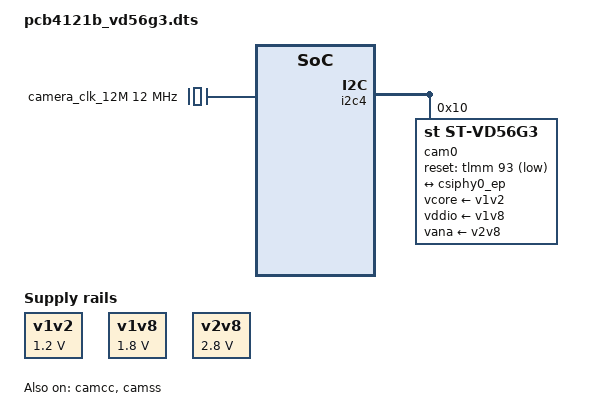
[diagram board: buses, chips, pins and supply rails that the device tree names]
/dts-v1/;
/plugin/;

/ {

	fragment@0 {
		target = <&camcc>;
		__overlay__ {
			status = "okay";
		};
	};

	fragment@1 {
		target = <&camss>;
		__overlay__ {
			status = "okay";

			ports {
				/* The port index denotes CSI PHY -> here CSI0 */
				port@0 {
					reg = <0x0>;
					csiphy0_ep: endpoint {
						clock-lanes = <2>;
						data-lanes = <0 1>;
						remote-endpoint = <&vd56g3_ep>;
					};
				};
			};
		};
	};

	fragment@2 {
		target = <&soc>;
		__overlay__ {
			camera_clk_12M: camera_clk_12M {
				#clock-cells = <0>;
				compatible = "fixed-clock";
				clock-frequency = <12000000>;
			};

			v1v2: v1v2@0 {
				compatible = "regulator-fixed";
				regulator-name = "fixed-supply-1v2";
				regulator-min-microvolt = <1200000>;
				regulator-max-microvolt = <1200000>;
				/* we connect spider 3v3 to 2v8 throught stmipi */
				/*vin-supply = <&v2v8>;*/
			};

			v1v8: v1v8@0 {
				compatible = "regulator-fixed";
				regulator-name = "fixed-supply-1v8";
				regulator-min-microvolt = <1800000>;
				regulator-max-microvolt = <1800000>;
				/* we connect spider 3v3 to 2v8 throught stmipi */
				/*vin-supply = <&v2v8>;*/
			};

			v2v8: v2v8@0 {
				compatible = "regulator-fixed";
				regulator-name = "fixed-supply-2v8";
				regulator-min-microvolt = <2800000>;
				regulator-max-microvolt = <2800000>;
				/* we connect spider 3v3 to 2v8 throught stmipi */
				/*vin-supply = <&v2v8>;*/
			};
		};
	};

	fragment@3 {
		target = <&i2c4>;
		__overlay__ {
			#address-cells = <1>;
			#size-cells = <0>;
			cam0: cam0@10 {
				status = "ok";
				compatible = "st,st-vd56g3";
				reg = <0x10>;
				clocks = <&camera_clk_12M>;
				clock-names = "xclk";
				vcore-supply = <&v1v2>;
				vddio-supply = <&v1v8>;
				vana-supply = <&v2v8>;
				reset-gpios = <&tlmm 93 1>;
				port {
					vd56g3_ep: endpoint {
						clock-lanes = <0>;
						data-lanes = <1 2>;
						link-frequencies =
							/bits/ 64 <402000000>;
						remote-endpoint = <&csiphy0_ep>;
					};
				};
			};
		};
	};

};
